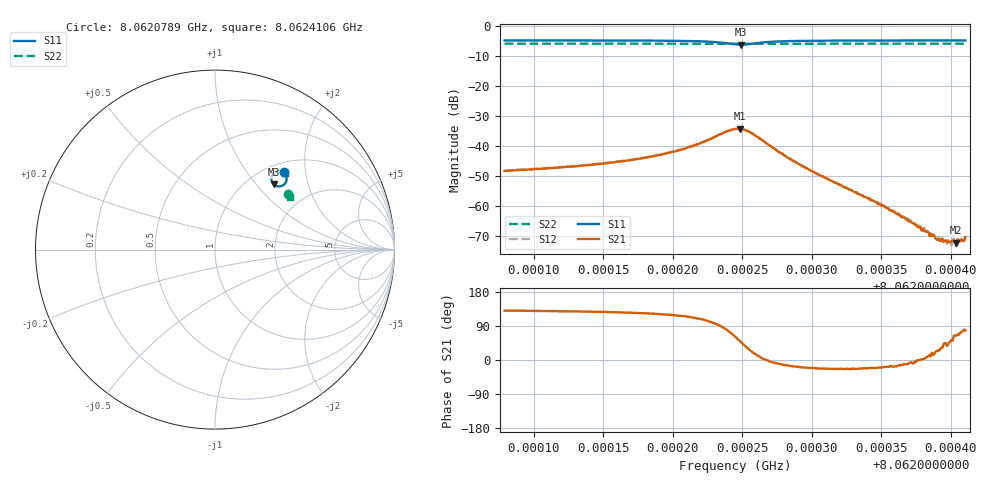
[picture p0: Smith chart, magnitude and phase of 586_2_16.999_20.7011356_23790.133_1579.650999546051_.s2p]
#  HZ  S  RI  R  50.00
! Rohde & Schwarz Vector Network Analyzer
! Rohde-Schwarz,ZNB20-2Port,1311601062101988,3.16
! Created: UTC 3/20/2024, 11:18:19 PM
! freq[Hz]  re:S11  im:S11  re:S21  im:S21  re:S12  im:S12  re:S22  im:S22
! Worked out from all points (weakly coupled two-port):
!   401 points, 8.0620789 GHz to 8.0624106 GHz, reference 50 ohm
!   highest |S21| = -34.15 dB at 8.062248 GHz (marker M1); lowest = -72.1 dB at 8.062404 GHz (marker M2)
!   lowest |S11| = -6.2 dB at 8.0622489 GHz (marker M3), VSWR 2.92, Z = 65.2 + j62.2 ohm
!   |S11| at or under -10 dB: nowhere
!   |S22| runs from -5.9 to -5.9 dB; largest |S21 - S12| = 0.0013
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8.06207887e9  0.3824 0.4306  -0.00251 0.00297  -0.00234 0.00313  0.4055 0.3072
8.06213443e9  0.388 0.4247  -0.00292 0.00378  -0.00272 0.00397  0.4075 0.3041
8.06216429e9  0.3918 0.4196  -0.00327 0.00463  -0.00307 0.00482  0.4087 0.3024
8.06219e9  0.3958 0.4121  -0.0037 0.0061  -0.00333 0.00638  0.4096 0.3007
8.06221571e9  0.3993 0.3947  -0.00369 0.00973  -0.00322 0.01  0.4105 0.2988
8.06223312e9  0.3886 0.3664  -0.000459 0.0155  0.000583 0.0155  0.4101 0.2969
8.06224473e9  0.3473 0.353  0.00907 0.0172  0.0102 0.0166  0.4085 0.2962
8.06224805e9  0.3317 0.3599  0.0124 0.0152  0.0133 0.0144  0.4079 0.2966
8.06224888e9  0.328 0.3629  0.0131 0.0144  0.014 0.0137  0.4078 0.2969
8.06225634e9  0.3138 0.3962  0.0154 0.00661  0.0159 0.00585  0.4081 0.298
8.06228205e9  0.351 0.437  0.00638 -0.00148  0.00641 -0.00202  0.411 0.298
8.06230029e9  0.3648 0.4367  0.00361 -0.00137  0.00354 -0.00158  0.4122 0.2971
8.06235586e9  0.3808 0.4305  0.000836 -0.000259  0.00084 -0.000306  0.4145 0.2939
8.06236664e9  0.3823 0.4295  0.000645 -0.000123  0.000651 -0.000161  0.4151 0.2933
8.06237493e9  0.3836 0.4287  0.00049 -4.93e-05  0.000481 -6.17e-05  0.4155 0.2929
8.06238405e9  0.3847 0.428  0.000366 6.83e-05  0.000363 1.58e-05  0.4159 0.2925
8.06239069e9  0.3855 0.4275  0.000257 0.00012  0.000289 9.71e-05  0.416 0.292
8.06239898e9  0.3864 0.4269  0.000171 0.000183  0.000151 0.000179  0.4164 0.2914
8.06240396e9  0.387 0.4264  0.000105 0.000226  0.000125 0.000178  0.4165 0.2914
8.06240562e9  0.387 0.4263  0.000117 0.000255  8.37e-05 0.000243  0.4166 0.2913
8.0624081e9  0.3873 0.4261  6.66e-05 0.000255  9.38e-05 0.00027  0.4166 0.2911
8.06241059e9  0.3874 0.4259  6.41e-05 0.000302  9.39e-05 0.000292  0.4168 0.291
